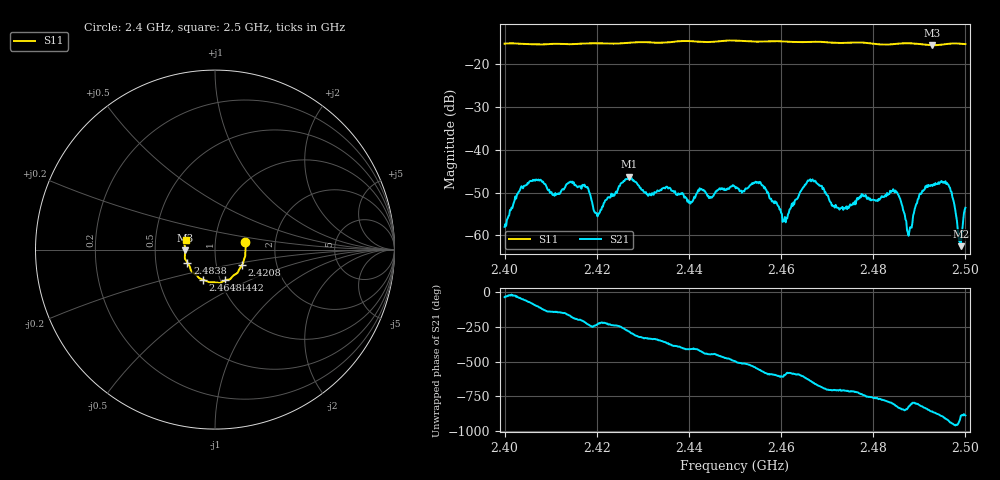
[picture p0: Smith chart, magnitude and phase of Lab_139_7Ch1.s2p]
# Hz S RI R 50
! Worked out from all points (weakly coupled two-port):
!   601 points, 2.4 GHz to 2.5 GHz, reference 50 ohm
!   highest |S21| = -46.28 dB at 2.427 GHz (marker M1); lowest = -62.5 dB at 2.499 GHz (marker M2)
!   lowest |S11| = -15.6 dB at 2.4928 GHz (marker M3), VSWR 1.40, Z = 35.8 - j0.351 ohm
!   |S11| at or under -10 dB: start of sweep to end of sweep
!   S12 and S22 are empty: the file has one direction only
!   S11 on the Smith chart (normalised r, x): 2.4 GHz: 1.40, +0.12; 2.4208 GHz: 1.33, -0.24; 2.4442 GHz: 1.05, -0.37; 2.4648 GHz: 0.83, -0.29; 2.4838 GHz: 0.73, -0.11; 2.5 GHz: 0.72, +0.08
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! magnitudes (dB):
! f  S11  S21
! 2.4 GHz  -15.2  -58.0
! 2.4058 GHz  -15.4  -47.3
! 2.4167 GHz  -15.2  -49.1
! 2.4208 GHz  -15.2  -54.0
! 2.427 GHz  -15.0  -46.3
! 2.4333 GHz  -15.1  -49.6
! 2.4442 GHz  -14.9  -50.7
! 2.45 GHz  -14.5  -48.6
! 2.4555 GHz  -14.8  -47.5
! 2.4608 GHz  -14.8  -55.7
! 2.4648 GHz  -14.9  -48.7
! 2.4667 GHz  -14.8  -47.2
! 2.4725 GHz  -15.1  -53.7
! 2.4833 GHz  -15.5  -50.3
! 2.4838 GHz  -15.4  -49.9
! 2.4855 GHz  -15.3  -50.6
! 2.4878 GHz  -15.2  -59.1
! 2.4902 GHz  -15.3  -50.2
! 2.4928 GHz  -15.6  -48.5
! 2.4965 GHz  -15.3  -48.6
! 2.499 GHz  -15.3  -62.5
! 2.5 GHz  -15.4  -53.5
